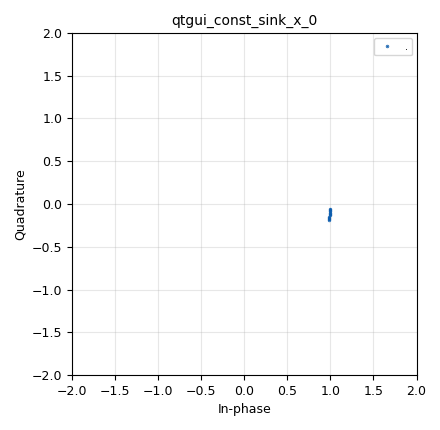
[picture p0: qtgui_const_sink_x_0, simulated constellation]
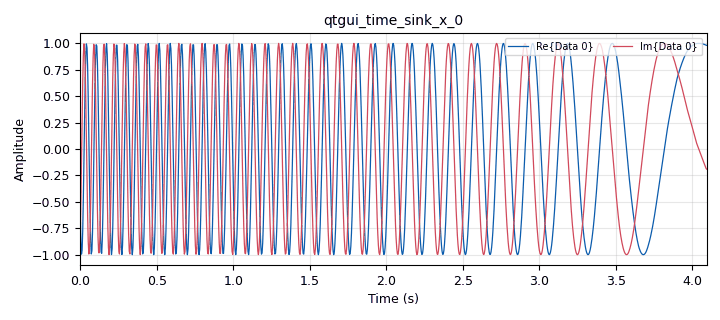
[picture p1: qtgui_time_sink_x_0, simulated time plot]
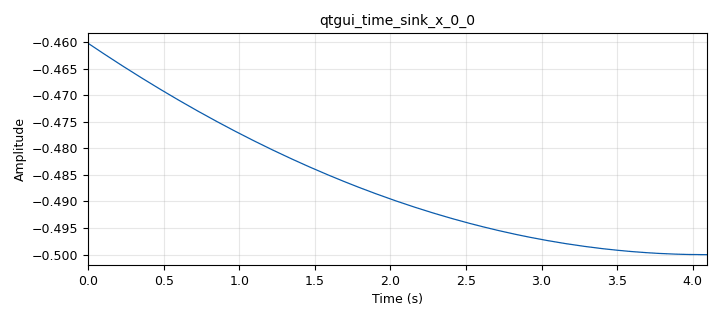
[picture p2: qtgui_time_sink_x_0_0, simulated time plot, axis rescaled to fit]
<?xml version='1.0' encoding='utf-8'?>
<?grc format='1' created='3.7.13'?>
<flow_graph>
<block>
<key>options</key>
<param><key>id</key><value>top_block</value></param>
<param><key>generate_options</key><value>qt_gui</value></param>
<param><key>run</key><value>run_stop</value></param>
</block>
<block>
<key>variable_qtgui_range</key>
<param><key>id</key><value>F</value></param>
<param><key>value</key><value>0</value></param>
<param><key>gui_hint</key><value>0,1,1,1</value></param>
<param><key>label</key><value>Frecuencia</value></param>
<param><key>orient</key><value>Qt.Horizontal</value></param>
<param><key>start</key><value>-samp_rate/256.</value></param>
<param><key>step</key><value>(2*samp_rate/256.)/1024.</value></param>
<param><key>stop</key><value>samp_rate/256.</value></param>
</block>
<block>
<key>variable</key>
<param><key>id</key><value>Kd</value></param>
<param><key>value</key><value>128</value></param>
</block>
<block>
<key>variable</key>
<param><key>id</key><value>Kd_2</value></param>
<param><key>value</key><value>16</value></param>
</block>
<block>
<key>variable_qtgui_check_box</key>
<param><key>id</key><value>run_stop</value></param>
<param><key>value</key><value>True</value></param>
<param><key>false</key><value>False</value></param>
<param><key>gui_hint</key><value>0,0,1,1</value></param>
<param><key>label</key><value>Inicial/Parar</value></param>
<param><key>true</key><value>True</value></param>
<param><key>type</key><value>int</value></param>
</block>
<block>
<key>variable</key>
<param><key>id</key><value>samp_rate</value></param>
<param><key>value</key><value>32000</value></param>
</block>
<block>
<key>analog_const_source_x</key>
<param><key>id</key><value>analog_const_source_x_0</value></param>
<param><key>const</key><value>F</value></param>
<param><key>_enabled</key><value>0</value></param>
<param><key>type</key><value>float</value></param>
</block>
<block>
<key>analog_sig_source_x</key>
<param><key>id</key><value>analog_sig_source_x_0</value></param>
<param><key>amp</key><value>1./2</value></param>
<param><key>freq</key><value>1./64</value></param>
<param><key>offset</key><value>0</value></param>
<param><key>type</key><value>float</value></param>
<param><key>samp_rate</key><value>samp_rate</value></param>
<param><key>waveform</key><value>analog.GR_COS_WAVE</value></param>
</block>
<block>
<key>blocks_throttle</key>
<param><key>id</key><value>blocks_throttle_0</value></param>
<param><key>samples_per_second</key><value>samp_rate</value></param>
<param><key>type</key><value>complex</value></param>
</block>
<block>
<key>epy_block</key>
<param><key>id</key><value>epy_block_0</value></param>
<param><key>Ac</key><value>1.0</value></param>
<param><key>_source_code</key><value>"""
Embedded Python Blocks:

Each time this file is saved, GRC will instantiate the first class it finds
to get ports and parameters of your block. The arguments to __init__  will
be the parameters. All of them are required to have default values!
"""

import numpy as np
from gnuradio import gr


class blk(gr.sync_block):  
    """Done by Homero Ortega Boada"""

    def __init__(self, samp_rate=200000., Ac=1.):  # only default arguments here
        """arguments to this function show up as parameters in GRC"""
        gr.sync_block.__init__(
            self,
            name='e_VCO_frec_fc',   # will show up in GRC
            in_sig=[np.float32],
            out_sig=[np.complex64]
        )
        self.samp_rate = float(samp_rate)
        self.Ac = Ac
	self.last_t=0.

    def work(self, input_items, output_items):
	in0=input_items[0]
	out0=output_items[0]
        L=len(in0)
	t=np.arange(L)/self.samp_rate+self.last_t
	theta=2.*np.pi*in0*t
	out0[:] = self.Ac*np.exp(1.j*theta)
	self.last_t += L/self.samp_rate
	return len(out0)
</value></param>
<param><key>samp_rate</key><value>samp_rate</value></param>
</block>
<block>
<key>qtgui_const_sink_x</key>
<param><key>id</key><value>qtgui_const_sink_x_0</value></param>
<param><key>gui_hint</key><value>2,0,1,1</value></param>
<param><key>label1</key><value>'                                                                                                                        .'</value></param>
<param><key>width1</key><value>4</value></param>
<param><key>size</key><value>10</value></param>
<param><key>type</key><value>complex</value></param>
<param><key>update_time</key><value>0.001</value></param>
</block>
<block>
<key>qtgui_time_sink_x</key>
<param><key>id</key><value>qtgui_time_sink_x_0</value></param>
<param><key>autoscale</key><value>True</value></param>
<param><key>gui_hint</key><value>1,1,1,1</value></param>
<param><key>color1</key><value>"blue"</value></param>
<param><key>label1</key><value></value></param>
<param><key>color2</key><value>"red"</value></param>
<param><key>label2</key><value></value></param>
<param><key>size</key><value>1024</value></param>
<param><key>srate</key><value>(samp_rate/Kd)</value></param>
<param><key>type</key><value>complex</value></param>
<param><key>update_time</key><value>0.001</value></param>
</block>
<block>
<key>qtgui_time_sink_x</key>
<param><key>id</key><value>qtgui_time_sink_x_0_0</value></param>
<param><key>gui_hint</key><value>1,0,1,1</value></param>
<param><key>color1</key><value>"blue"</value></param>
<param><key>label1</key><value></value></param>
<param><key>size</key><value>1024</value></param>
<param><key>srate</key><value>(samp_rate/Kd)</value></param>
<param><key>type</key><value>float</value></param>
<param><key>update_time</key><value>0.001</value></param>
</block>
<block>
<key>rational_resampler_xxx</key>
<param><key>id</key><value>rational_resampler_xxx_0</value></param>
<param><key>decim</key><value>Kd</value></param>
<param><key>interp</key><value>1</value></param>
<param><key>taps</key><value></value></param>
<param><key>type</key><value>ccc</value></param>
</block>
<block>
<key>rational_resampler_xxx</key>
<param><key>id</key><value>rational_resampler_xxx_0_0</value></param>
<param><key>decim</key><value>Kd</value></param>
<param><key>interp</key><value>1</value></param>
<param><key>taps</key><value></value></param>
<param><key>type</key><value>fff</value></param>
</block>
<block>
<key>rational_resampler_xxx</key>
<param><key>id</key><value>rational_resampler_xxx_0_0_0</value></param>
<param><key>decim</key><value>Kd_2</value></param>
<param><key>_enabled</key><value>0</value></param>
<param><key>interp</key><value>1</value></param>
<param><key>taps</key><value></value></param>
<param><key>type</key><value>fff</value></param>
</block>
<block>
<key>virtual_sink</key>
<param><key>id</key><value>vs</value></param>
<param><key>stream_id</key><value>P1</value></param>
</block>
<block>
<key>virtual_sink</key>
<param><key>id</key><value>vs_0</value></param>
<param><key>stream_id</key><value>P2</value></param>
</block>
<block>
<key>virtual_source</key>
<param><key>id</key><value>vso</value></param>
<param><key>stream_id</key><value>P1</value></param>
</block>
<block>
<key>virtual_source</key>
<param><key>id</key><value>vso_0</value></param>
<param><key>stream_id</key><value>P2</value></param>
</block>
<connection><source_block_id>analog_const_source_x_0</source_block_id><sink_block_id>epy_block_0</sink_block_id><source_key>0</source_key><sink_key>0</sink_key></connection>
<connection><source_block_id>analog_const_source_x_0</source_block_id><sink_block_id>vs_0</sink_block_id><source_key>0</source_key><sink_key>0</sink_key></connection>
<connection><source_block_id>analog_sig_source_x_0</source_block_id><sink_block_id>epy_block_0</sink_block_id><source_key>0</source_key><sink_key>0</sink_key></connection>
<connection><source_block_id>analog_sig_source_x_0</source_block_id><sink_block_id>vs_0</sink_block_id><source_key>0</source_key><sink_key>0</sink_key></connection>
<connection><source_block_id>blocks_throttle_0</source_block_id><sink_block_id>vs</sink_block_id><source_key>0</source_key><sink_key>0</sink_key></connection>
<connection><source_block_id>epy_block_0</source_block_id><sink_block_id>blocks_throttle_0</sink_block_id><source_key>0</source_key><sink_key>0</sink_key></connection>
<connection><source_block_id>rational_resampler_xxx_0</source_block_id><sink_block_id>qtgui_const_sink_x_0</sink_block_id><source_key>0</source_key><sink_key>0</sink_key></connection>
<connection><source_block_id>rational_resampler_xxx_0</source_block_id><sink_block_id>qtgui_time_sink_x_0</sink_block_id><source_key>0</source_key><sink_key>0</sink_key></connection>
<connection><source_block_id>rational_resampler_xxx_0_0</source_block_id><sink_block_id>qtgui_time_sink_x_0_0</sink_block_id><source_key>0</source_key><sink_key>0</sink_key></connection>
<connection><source_block_id>rational_resampler_xxx_0_0</source_block_id><sink_block_id>rational_resampler_xxx_0_0_0</sink_block_id><source_key>0</source_key><sink_key>0</sink_key></connection>
<connection><source_block_id>rational_resampler_xxx_0_0_0</source_block_id><sink_block_id>qtgui_time_sink_x_0_0</sink_block_id><source_key>0</source_key><sink_key>0</sink_key></connection>
<connection><source_block_id>vso</source_block_id><sink_block_id>rational_resampler_xxx_0</sink_block_id><source_key>0</source_key><sink_key>0</sink_key></connection>
<connection><source_block_id>vso_0</source_block_id><sink_block_id>rational_resampler_xxx_0_0</sink_block_id><source_key>0</source_key><sink_key>0</sink_key></connection>
</flow_graph>
